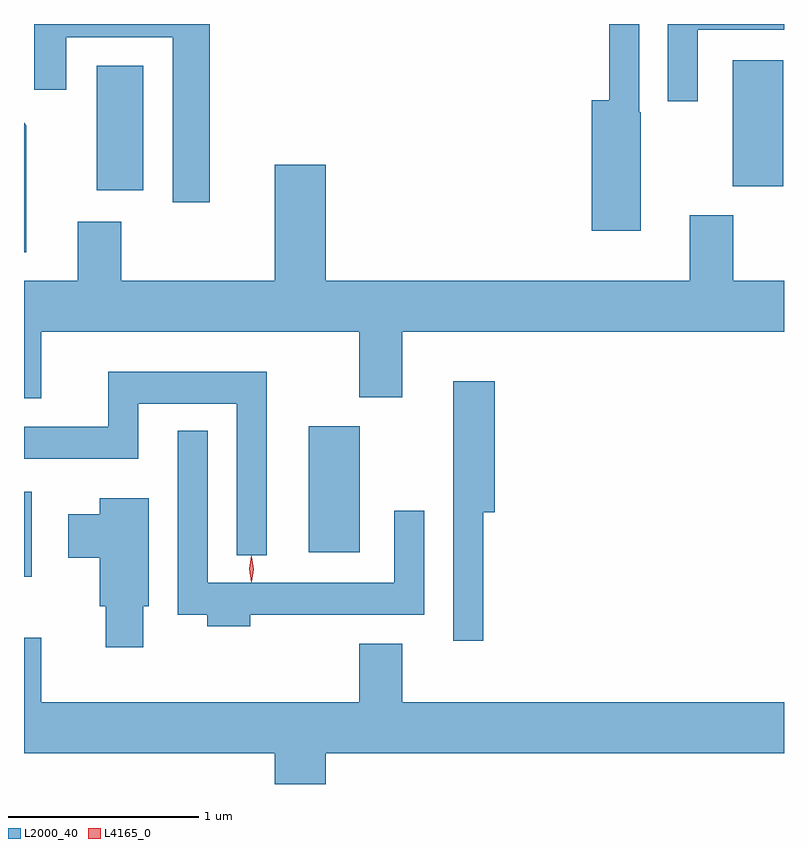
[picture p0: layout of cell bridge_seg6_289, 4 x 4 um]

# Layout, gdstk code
import gdstk
lib = gdstk.Library(unit=1e-6, precision=1e-09)
def R(c, l, rs):  # rectangles x0, y0, x1, y1
    for r in rs: c.add(gdstk.rectangle(r[:2], r[2:], *l))
def P(c, l, *ps):  # polygons
    for p in ps: c.add(gdstk.Polygon(p, *l))
L2000_40 = (2000, 40)
L4165_0 = (4165, 0)

bridge_seg6_289 = lib.new_cell('bridge_seg6_289')
R(bridge_seg6_289, L2000_40, [(1312.657,1535.426,1312.699,1535.874), (1314.156,1535.556,1314.424,1536.219), (1313.041,1537.461,1313.284,1538.114), (1316.386,1537.481,1316.654,1538.144)])
P(bridge_seg6_289, L2000_40, [(1316.204,1538.306),(1316.657,1538.306),(1316.657,1538.335),(1316.046,1538.335),(1316.046,1537.928),(1316.204,1537.928)],
  [(1315.904,1537.87),(1315.894,1537.87),(1315.894,1538.335),(1315.736,1538.335),(1315.736,1537.934),(1315.646,1537.934),(1315.646,1537.246),(1315.904,1537.246)],
  [(1313.634,1538.335),(1312.711,1538.335),(1312.711,1537.988),(1312.879,1537.988),(1312.879,1538.266),(1313.441,1538.266),(1313.441,1537.396),(1313.634,1537.396)],
  [(1312.669,1537.802),(1312.657,1537.814),(1312.657,1537.133),(1312.669,1537.133)],
  [(1312.749,1536.716),(1314.421,1536.716),(1314.421,1536.371),(1314.649,1536.371),(1314.649,1536.716),(1316.657,1536.716),(1316.657,1536.984),(1316.389,1536.984),(1316.389,1537.329),(1316.161,1537.329),(1316.161,1536.984),(1314.244,1536.984),(1314.244,1537.594),(1313.976,1537.594),(1313.976,1536.984),(1313.169,1536.984),(1313.169,1537.294),(1312.941,1537.294),(1312.941,1536.984),(1312.657,1536.984),(1312.657,1536.366),(1312.749,1536.366)],
  [(1313.934,1536.504),(1313.101,1536.504),(1313.101,1536.214),(1312.657,1536.214),(1312.657,1536.046),(1313.259,1536.046),(1313.259,1536.336),(1313.776,1536.336),(1313.776,1535.538),(1313.934,1535.538)],
  [(1315.074,1535.766),(1315.134,1535.766),(1315.134,1536.454),(1314.916,1536.454),(1314.916,1535.088),(1315.074,1535.088)],
  [(1313.849,1535.226),(1314.764,1535.226),(1314.764,1535.773),(1314.606,1535.773),(1314.606,1535.394),(1313.624,1535.394),(1313.624,1536.193),(1313.466,1536.193),(1313.466,1535.226),(1313.621,1535.226),(1313.621,1535.166),(1313.849,1535.166)],
  [(1313.284,1535.271),(1313.314,1535.271),(1313.314,1535.839),(1313.056,1535.839),(1313.056,1535.754),(1312.891,1535.754),(1312.891,1535.526),(1313.056,1535.526),(1313.056,1535.271),(1313.086,1535.271),(1313.086,1535.056),(1313.284,1535.056)],
  [(1314.244,1534.496),(1316.657,1534.496),(1316.657,1534.764),(1314.649,1534.764),(1314.649,1535.074),(1314.421,1535.074),(1314.421,1534.764),(1312.749,1534.764),(1312.749,1535.104),(1312.657,1535.104),(1312.657,1534.496),(1313.976,1534.496),(1313.976,1534.335),(1314.244,1534.335)])
P(bridge_seg6_289, L4165_0, [(1313.855,1535.399),(1313.854,1535.4),(1313.845,1535.466),(1313.854,1535.532),(1313.855,1535.533),(1313.856,1535.532),(1313.865,1535.466),(1313.856,1535.4)],
  [(1313.852,1535.397),(1313.843,1535.467),(1313.852,1535.536),(1313.853,1535.536),(1313.853,1535.536),(1313.863,1535.467),(1313.853,1535.397),(1313.853,1535.397)])

lib.write_gds('bridge_seg6_289.gds')
